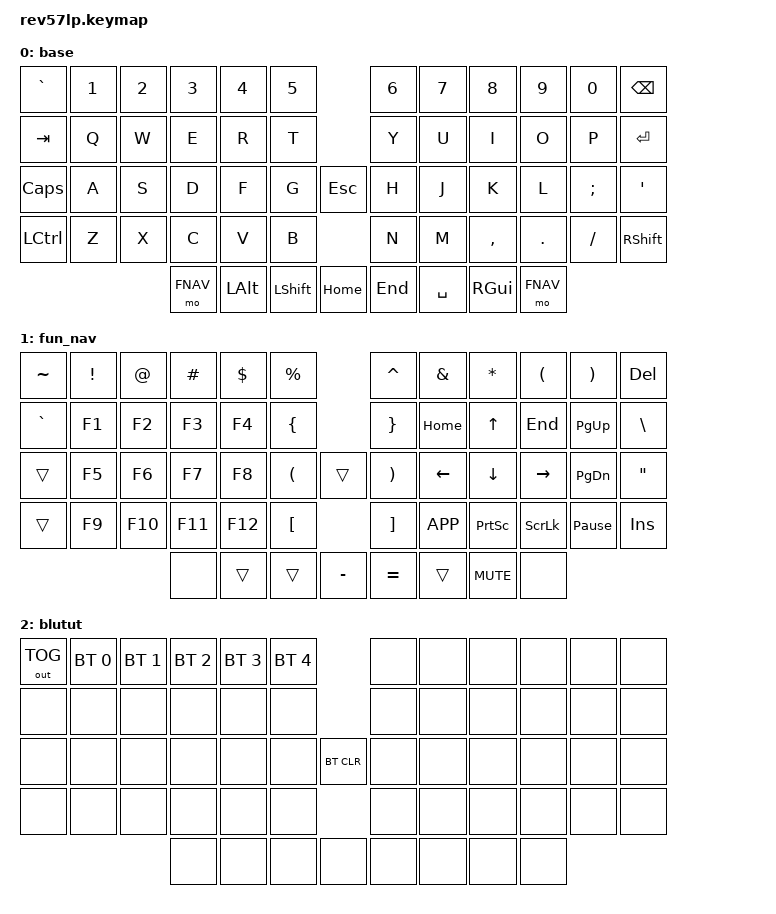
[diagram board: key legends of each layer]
/*
 * Copyright (c) 2022 The ZMK Contributors
 *
 * SPDX-License-Identifier: MIT
 */

#include <behaviors.dtsi>
#include <dt-bindings/zmk/bt.h>
#include <dt-bindings/zmk/keys.h>
#include <dt-bindings/zmk/outputs.h>

#define BASE    0
#define FNAV    1
#define BT      2

/ {
    combos {
        compatible = "zmk,combos";

        combo_BOOT {
            timeout-ms = <50>;
            key-positions = <4 5 6 7>;
            bindings = <&bootloader>;
        };

        combo_BT {
            timeout-ms = <50>;
            key-positions = <49 56>;
            bindings = <&tog BT>;
        };
    };

    keymap {
        compatible = "zmk,keymap";

        base {
            bindings = <
                &kp GRAVE    &kp N1     &kp N2    &kp N3    &kp N4     &kp N5                           &kp N6     &kp N7     &kp N8     &kp N9    &kp N0     &kp BSPC
                &kp TAB      &kp Q      &kp W     &kp E     &kp R      &kp T                            &kp Y      &kp U      &kp I      &kp O     &kp P      &kp ENTER
                &kp CAPS     &kp A      &kp S     &kp D     &kp F      &kp G          &kp ESC           &kp H      &kp J      &kp K      &kp L     &kp SEMI   &kp APOS
                &kp LCTRL   &kp Z      &kp X     &kp C     &kp V      &kp B                            &kp N      &kp M      &kp COMMA  &kp DOT   &kp SLASH  &kp RSHIFT
                                                  &mo FNAV  &kp LALT   &kp LSHIFT  &kp HOME  &kp END  &kp SPACE  &kp RIGHT_GUI   &mo FNAV
            >;
        };

        fun_nav {
            bindings = <

                &kp TILDE  &kp EXCL  &kp AT   &kp HASH  &kp DLLR  &kp PRCNT                             &kp CARET  &kp AMPS   &kp ASTRK  &kp LPAR   &kp RPAR        &kp DEL
                &kp GRAVE  &kp F1    &kp F2   &kp F3    &kp F4    &kp LBRC                              &kp RBRC   &kp HOME   &kp UP     &kp END    &kp PG_UP       &kp BSLH
                &trans     &kp F5    &kp F6   &kp F7    &kp F8    &kp LPAR          &trans              &kp RPAR   &kp LEFT   &kp DOWN   &kp RIGHT  &kp PG_DN       &kp DQT
                &trans     &kp F9    &kp F10  &kp F11   &kp F12   &kp LBKT                              &kp RBKT   &kp K_APP  &kp PSCRN  &kp SLCK   &kp PAUSE_BREAK &kp INS
                                                &none     &trans    &trans    &kp MINUS  &kp EQUAL &trans     &kp C_MUTE &none
            >;
        };

        blutut {
            bindings = <
                &out OUT_TOG  &bt BT_SEL 0  &bt BT_SEL 1  &bt BT_SEL 2  &bt BT_SEL 3  &bt BT_SEL 4           &none  &none  &none  &none  &none  &none
                &none         &none         &none         &none         &none         &none                  &none  &none  &none  &none  &none  &none
                &none         &none         &none         &none         &none         &none     &bt BT_CLR   &none  &none  &none  &none  &none  &none
                &none         &none         &none         &none         &none         &none                  &none  &none  &none  &none  &none  &none
                                                                        &none  &none  &none   &none  &none   &none  &none  &none
            >;
        };
    };
};
